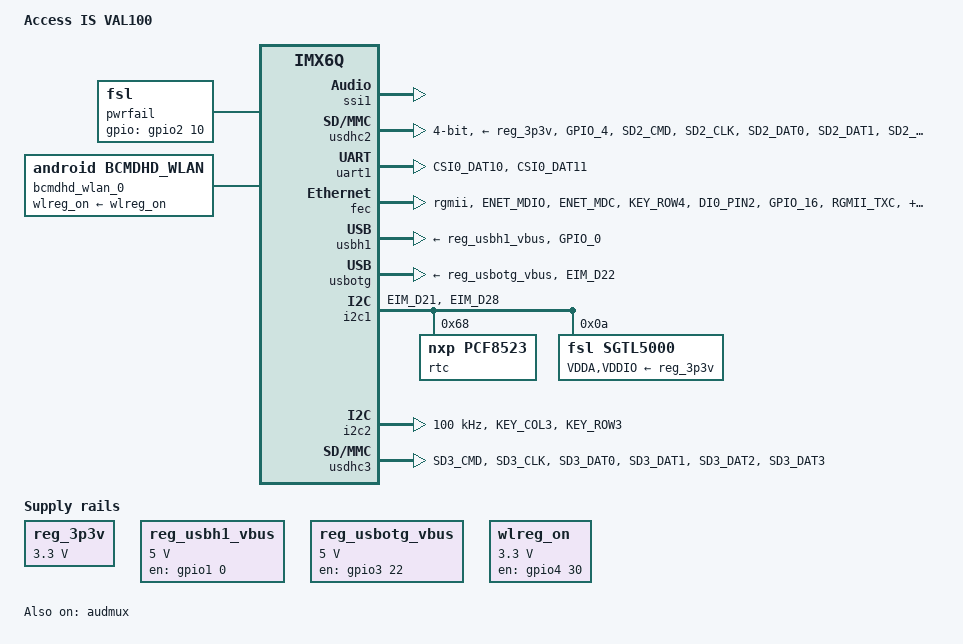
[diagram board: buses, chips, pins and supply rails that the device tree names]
/*

 */
/dts-v1/;

#include <dt-bindings/input/input.h>
#include <dt-bindings/gpio/gpio.h>
#include "imx6q.dtsi"


/ {
	model = "Access IS VAL100";
	compatible = "fsl,imx6q";
	
	aliases {
		mxcfb0 = &mxcfb1;
	};
	
	regulators {
		compatible = "simple-bus";

		reg_3p3v: 3p3v {
			compatible = "regulator-fixed";
			regulator-name = "3P3V";
			regulator-min-microvolt = <3300000>;
			regulator-max-microvolt = <3300000>;
			regulator-always-on;
		};

		reg_usbh1_vbus: usb-h1-vbus {
			compatible = "regulator-fixed";
			enable-active-high;
			gpio = <&gpio1 0 0>;
			pinctrl-names = "default";
			pinctrl-0 = <&pinctrl_ais_usbh1_vbus>;
			regulator-name = "usb_h1_vbus";
			regulator-min-microvolt = <5000000>;
			regulator-max-microvolt = <5000000>;
		};

		reg_usbotg_vbus: usb-otg-vbus {
			compatible = "regulator-fixed";
			enable-active-high;
			gpio = <&gpio3 22 0>;
			pinctrl-names = "default";
			pinctrl-0 = <&pinctrl_ais_usbotg_vbus>;
			regulator-name = "usb_otg_vbus";
			regulator-min-microvolt = <5000000>;
			regulator-max-microvolt = <5000000>;
		};
		
		wlreg_on: wl-reg {
			compatible = "regulator-fixed";
 			regulator-min-microvolt = <3300000>;
 			regulator-max-microvolt = <3300000>;
 			regulator-name = "wlreg_on";
            pinctrl-names = "default";
			pinctrl-0 = <&pinctrl_wifi_wlreg>;
 			gpio = <&gpio4 30 0>; /* WL_REG_ON */
 			startup-delay-us = <60000>; /* WL_REG_ON preferred is 60000: default 500 */
 			enable-active-high;
 			/*regulator-boot-on;*/
 			regulator-always-on;
		};

	};
	
	mxcfb1: fb@0 {
		compatible = "fsl,mxc_sdc_fb";
		disp_dev = "lcd";
		interface_pix_fmt = "RGB24";
		mode_str ="ACCESS43";
		default_bpp = <32>;
		int_clk = <0>;
		late_init = <0>;
		status = "okay";
	};
	
	lcd: lcd@0 {
		compatible = "fsl,lcd";
		ipu_id = <0>;
		disp_id = <1>;
		default_ifmt = "RGB24";
		pinctrl-names = "default";
		pinctrl-0 = <&pinctrl_ipu1_1>;
		status = "okay";
	};
	
		pwrfail {
		compatible = "fsl";
		status = "okay";
		pinctrl-names = "default";
		pinctrl-0 = <&pinctrl_val_pwrfail>;
		gpios = <&gpio2 10>; // PWRFAIL
		input;
	};
	
		bcmdhd_wlan_0: bcmdhd_wlan@0 {
		compatible = "android,bcmdhd_wlan";
        wlreg_on-supply = <&wlreg_on>;
    };
    
		sound-sgtl5000 {
		audio-codec = <&sgtl5000>;
		audio-routing =
			"MIC_IN", "Mic Jack",
			"Mic Jack", "Mic Bias",
			"Headphone Jack", "HP_OUT";
		compatible = "fsl,imx-audio-sgtl5000";
		model = "On-board Codec";
		mux-ext-port = <5>;
		mux-int-port = <1>;
		ssi-controller = <&ssi1>;
	};


};

&iomuxc {

		pinctrl-names = "default";

		ipu1 {
			pinctrl_ipu1_1: ipu1grp-1 {
			fsl,pins = <
				MX6QDL_PAD_EIM_A16__IPU1_DI1_DISP_CLK      0x10
				MX6QDL_PAD_EIM_DA10__IPU1_DI1_PIN15        0x10
				MX6QDL_PAD_EIM_DA11__IPU1_DI1_PIN02        0x10
				MX6QDL_PAD_EIM_DA12__IPU1_DI1_PIN03        0x10
				MX6QDL_PAD_EIM_DA14__IPU1_DI1_D1_CS        0x10
//				MX6QDL_PAD_EIM_DA13__IPU1_DI1_D0_CS        0x10

				MX6QDL_PAD_EIM_DA9__IPU1_DISP1_DATA00  	   0x10
				MX6QDL_PAD_EIM_DA8__IPU1_DISP1_DATA01      0x10
				MX6QDL_PAD_EIM_DA7__IPU1_DISP1_DATA02      0x10
				MX6QDL_PAD_EIM_DA6__IPU1_DISP1_DATA03      0x10
				MX6QDL_PAD_EIM_DA5__IPU1_DISP1_DATA04      0x10
				MX6QDL_PAD_EIM_DA4__IPU1_DISP1_DATA05      0x10
				MX6QDL_PAD_EIM_DA3__IPU1_DISP1_DATA06      0x10
				MX6QDL_PAD_EIM_DA2__IPU1_DISP1_DATA07      0x10

				MX6QDL_PAD_EIM_DA1__IPU1_DISP1_DATA08      0x10
				MX6QDL_PAD_EIM_DA0__IPU1_DISP1_DATA09      0x10
				MX6QDL_PAD_EIM_EB1__IPU1_DISP1_DATA10      0x10
				MX6QDL_PAD_EIM_EB0__IPU1_DISP1_DATA11      0x10
				MX6QDL_PAD_EIM_A17__IPU1_DISP1_DATA12      0x10
				MX6QDL_PAD_EIM_A18__IPU1_DISP1_DATA13      0x10
				MX6QDL_PAD_EIM_A19__IPU1_DISP1_DATA14      0x10
				MX6QDL_PAD_EIM_A20__IPU1_DISP1_DATA15      0x10

				MX6QDL_PAD_EIM_A21__IPU1_DISP1_DATA16      0x10
				MX6QDL_PAD_EIM_A22__IPU1_DISP1_DATA17      0x10
				MX6QDL_PAD_EIM_A23__IPU1_DISP1_DATA18      0x10
				MX6QDL_PAD_EIM_A24__IPU1_DISP1_DATA19      0x10
				MX6QDL_PAD_EIM_D31__IPU1_DISP1_DATA20      0x10
				MX6QDL_PAD_EIM_D30__IPU1_DISP1_DATA21      0x10
				MX6QDL_PAD_EIM_D26__IPU1_DISP1_DATA22      0x10
				MX6QDL_PAD_EIM_D27__IPU1_DISP1_DATA23      0x10
			>;
		};
	}; // ipu1

		
		enet {
			pinctrl_enet_ar8035: ar8035 {
			fsl,pins = <
				MX6QDL_PAD_ENET_MDIO__ENET_MDIO		0x1b8b0
				MX6QDL_PAD_ENET_MDC__ENET_MDC		0x1b0b0
				/* AR8035 reset */
				MX6QDL_PAD_KEY_ROW4__GPIO4_IO15		0x130b0
				/* AR8035 interrupt */
				MX6QDL_PAD_DI0_PIN2__GPIO4_IO18		0x80000000
				/* GPIO16 -> AR8035 25MHz */
				MX6QDL_PAD_GPIO_16__ENET_REF_CLK	0xc0000000
				MX6QDL_PAD_RGMII_TXC__RGMII_TXC		0x80000000
				MX6QDL_PAD_RGMII_TD0__RGMII_TD0		0x1b030
				MX6QDL_PAD_RGMII_TD1__RGMII_TD1		0x1b030
				MX6QDL_PAD_RGMII_TD2__RGMII_TD2		0x1b030
				MX6QDL_PAD_RGMII_TD3__RGMII_TD3		0x1b030
				MX6QDL_PAD_RGMII_TX_CTL__RGMII_TX_CTL	0x1b030
				/* AR8035 CLK_25M --> ENET_REF_CLK (V22) */
				MX6QDL_PAD_ENET_REF_CLK__ENET_TX_CLK	0x0a0b1
				/* AR8035 pin strapping: IO voltage: pull up */
				MX6QDL_PAD_RGMII_RXC__RGMII_RXC		0x1b030
				/* AR8035 pin strapping: PHYADDR#0: pull down */
				MX6QDL_PAD_RGMII_RD0__RGMII_RD0		0x13030
				/* AR8035 pin strapping: PHYADDR#1: pull down */
				MX6QDL_PAD_RGMII_RD1__RGMII_RD1		0x13030
				/* AR8035 pin strapping: MODE#1: pull up */
				MX6QDL_PAD_RGMII_RD2__RGMII_RD2		0x1b030
				/* AR8035 pin strapping: MODE#3: pull up */
				MX6QDL_PAD_RGMII_RD3__RGMII_RD3		0x1b030
				/* AR8035 pin strapping: MODE#0: pull down */
				MX6QDL_PAD_RGMII_RX_CTL__RGMII_RX_CTL	0x13030

				MX6QDL_PAD_ENET_CRS_DV__GPIO1_IO25	0x03000
				MX6QDL_PAD_ENET_RXD0__GPIO1_IO27	0x03000
				MX6QDL_PAD_ENET_RXD1__GPIO1_IO26	0x03000
			>;
		};
	};
	
			
		ais {
			pinctrl_ais_usbh1_vbus: ais-usbh1-vbus {
			fsl,pins = <MX6QDL_PAD_GPIO_0__GPIO1_IO00 0x4001b0b0>;
		};
		
			pinctrl_ais_usbotg_vbus: ais-usbotg-vbus {
			fsl,pins = <MX6QDL_PAD_EIM_D22__GPIO3_IO22 0x4001b0b0>;
		};
		
			pinctrl_ais_usdhc2_aux: ais-usdhc2-aux {
			fsl,pins = <
				MX6QDL_PAD_GPIO_4__GPIO1_IO04    0x1f071
			>;
		};

		
			pinctrl_ais_usdhc2: ais-usdhc2 {
			fsl,pins = <
				MX6QDL_PAD_SD2_CMD__SD2_CMD    0x17059
				MX6QDL_PAD_SD2_CLK__SD2_CLK    0x10059
				MX6QDL_PAD_SD2_DAT0__SD2_DATA0 0x17059
				MX6QDL_PAD_SD2_DAT1__SD2_DATA1 0x17059
				MX6QDL_PAD_SD2_DAT2__SD2_DATA2 0x17059
				MX6QDL_PAD_SD2_DAT3__SD2_DATA3 0x17059
			>;
		};
		
			pinctrl_ais_uart1: ais-uart1 {
			fsl,pins = <
				MX6QDL_PAD_CSI0_DAT10__UART1_TX_DATA	0x1b0b1
				MX6QDL_PAD_CSI0_DAT11__UART1_RX_DATA	0x1b0b1
			>;
		};
		
		pinctrl_ais_i2c1: ais-i2c1 {
			fsl,pins = <
				MX6QDL_PAD_EIM_D21__I2C1_SCL 0x4000a0b1 /*0x40000838 - old value*/
				MX6QDL_PAD_EIM_D28__I2C1_SDA 0x4000a0b1
			>;
		};
		
			pinctrl_ais_i2c2: ais-i2c2 {
			fsl,pins = <
				MX6QDL_PAD_KEY_COL3__I2C2_SCL 0x4001b8b1
				MX6QDL_PAD_KEY_ROW3__I2C2_SDA 0x4001b8b1
			>;
		};

			pinctrl_wifi_wlreg: wifi-wlreg {
			fsl,pins = <
				MX6QDL_PAD_DISP0_DAT9__GPIO4_IO30	0x30
				>;
			};
		
			pinctrl_usdhc3: usdhc3grp {
			fsl,pins = <
				MX6QDL_PAD_SD3_CMD__SD3_CMD    0x17059
				MX6QDL_PAD_SD3_CLK__SD3_CLK    0x10059
				MX6QDL_PAD_SD3_DAT0__SD3_DATA0 0x17059
				MX6QDL_PAD_SD3_DAT1__SD3_DATA1 0x17059
				MX6QDL_PAD_SD3_DAT2__SD3_DATA2 0x17059
				MX6QDL_PAD_SD3_DAT3__SD3_DATA3 0x17059
				>;
			};
			
			pinctrl_val_pwrfail: VAL-pwrfail {
            fsl,pins = <
                MX6QDL_PAD_SD4_DAT2__GPIO2_IO10     0x1b030
            >;
        };
        		pinctrl_ais_sgtl5000: ais-sgtl5000 {
			fsl,pins = <
				MX6QDL_PAD_DISP0_DAT19__AUD5_RXD 0x130b0 /*brk*/
				MX6QDL_PAD_KEY_COL0__AUD5_TXC 0x130b0 /*ok*/
				MX6QDL_PAD_KEY_ROW0__AUD5_TXD 0x110b0 /*brk*/
				MX6QDL_PAD_KEY_COL1__AUD5_TXFS 0x130b0 /*ok*/
				MX6QDL_PAD_GPIO_5__CCM_CLKO1 0x130b0
			>;
		};
		
		};
}; // &iomuxc


&audmux {
	status = "okay";
};


&ssi1 {
	fsl,mode = "i2s-slave";
	status = "okay";
};

&usdhc2 {
	pinctrl-names = "default";
	pinctrl-0 = <
		&pinctrl_ais_usdhc2_aux
		&pinctrl_ais_usdhc2
	>;
	bus-width = <4>;
	/*cd-gpios = <&gpio1 4 0>;*/
	no-1-8-v;
	pm-ignore-notify;
	keep-power-in-suspend;
	enable-sdio-wakeup;
	vmmc-supply = <&reg_3p3v>;
	status = "okay";
};


&uart1 {
	pinctrl-names = "default";
	pinctrl-0 = <&pinctrl_ais_uart1>;
	status = "okay";
};

&fec {
	pinctrl-names = "default";
	pinctrl-0 = <&pinctrl_enet_ar8035>;
	phy-mode = "rgmii";
	phy-reset-duration = <2>;
	phy-reset-gpios = <&gpio4 15 0>;
	status = "okay";
};

&usbh1 {
	pinctrl-names = "default";
	pinctrl-0 = <&pinctrl_ais_usbh1_vbus>;
	vbus-supply = <&reg_usbh1_vbus>;
	status = "okay";
};

&usbotg {
	pinctrl-names = "default";
	pinctrl-0 = <&pinctrl_ais_usbotg_vbus>;
	vbus-supply = <&reg_usbotg_vbus>;
	status = "okay";
	
};

&i2c1 {
	pinctrl-names = "default";
	pinctrl-0 = <&pinctrl_ais_i2c1>;
	status = "okay";
	
	rtc: pcf8523@68 {
		compatible = "nxp,pcf8523";
		reg = <0x68>;
	};
	
	sgtl5000: sgtl5000@0a {
		clocks = <&clks IMX6QDL_CLK_CKO>;
		compatible = "fsl,sgtl5000";
		pinctrl-names = "default";
		pinctrl-0 = <&pinctrl_ais_sgtl5000>;
		reg = <0x0a>;
		VDDA-supply = <&reg_3p3v>;
		VDDIO-supply = <&reg_3p3v>;
	};
};


&i2c2 {
	clock-frequency = <100000>;
	pinctrl-names = "default";
	pinctrl-0 = <&pinctrl_ais_i2c2>;
	status = "okay";
	
};


&usdhc3 {
	pinctrl-names = "default";
	pinctrl-0 = <&pinctrl_usdhc3>;
	enable-sdio-wakeup;
	max-frequency = <25000000>;
	wifi-host;
	status = "okay";
};
